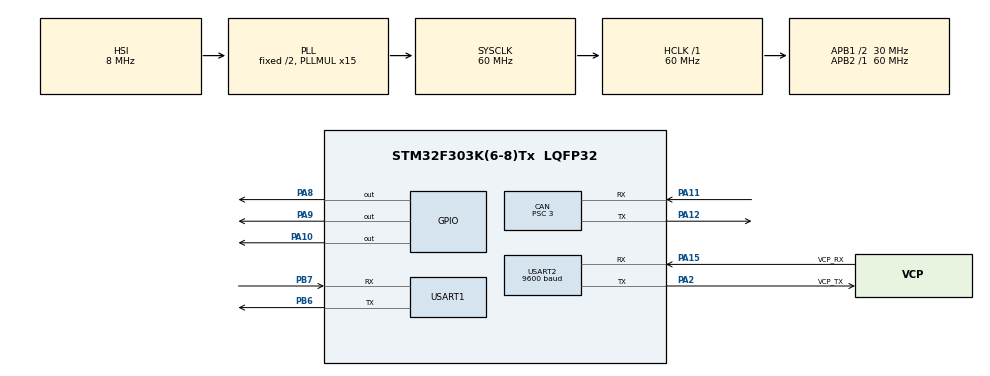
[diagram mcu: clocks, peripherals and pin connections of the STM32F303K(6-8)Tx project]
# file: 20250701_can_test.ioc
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CAN.BS1=CAN_BS1_7TQ
CAN.BS2=CAN_BS2_2TQ
CAN.CalculateBaudRate=1000000
CAN.CalculateTimeBit=1000
CAN.CalculateTimeQuantum=100.0
CAN.Prescaler=3
Mcu.Family=STM32F3
Mcu.Name=STM32F303K(6-8)Tx
Mcu.Package=LQFP32
NVIC.CAN_RX0_IRQn=true\:0\:0\:false\:false\:true\:true\:true\:true
NVIC.PriorityGroup=NVIC_PRIORITYGROUP_4
NVIC.USART2_IRQn=true\:0\:0\:false\:false\:true\:true\:true\:true
PA10.Signal=GPIO_Output
PA11.Mode=CAN_Activate
PA11.Signal=CAN_RX
PA12.Mode=CAN_Activate
PA12.Signal=CAN_TX
PA13.GPIO_Label=SWDIO
PA13.Mode=Serial_Wire
PA13.Signal=SYS_JTMS-SWDIO
PA14.GPIO_Label=SWCLK
PA14.Mode=Serial_Wire
PA14.Signal=SYS_JTCK-SWCLK
PA15.GPIO_Label=VCP_RX
PA15.Mode=Asynchronous
PA15.Signal=USART2_RX
PA2.GPIO_Label=VCP_TX
PA2.Mode=Asynchronous
PA2.Signal=USART2_TX
PA8.Signal=GPIO_Output
PA9.Signal=GPIO_Output
PB6.Mode=Asynchronous
PB6.Signal=USART1_TX
PB7.Mode=Asynchronous
PB7.Signal=USART1_RX
PF0\ /\ OSC_IN.GPIO_Label=MCO
PF0\ /\ OSC_IN.Mode=HSE-External-Clock-Source
PF0\ /\ OSC_IN.Signal=RCC_OSC_IN
ProjectManager.HeapSize=0x200
ProjectManager.StackSize=0x400
ProjectManager.TargetToolchain=STM32CubeIDE
RCC.AHBFreq_Value=60000000
RCC.APB1CLKDivider=RCC_HCLK_DIV2
RCC.APB1Freq_Value=30000000
RCC.APB1TimFreq_Value=60000000
RCC.APB2Freq_Value=60000000
RCC.APB2TimFreq_Value=60000000
RCC.CortexFreq_Value=60000000
RCC.HCLKFreq_Value=60000000
RCC.HSE_VALUE=16000000
RCC.HSI_VALUE=8000000
RCC.PLLMUL=RCC_PLL_MUL15
RCC.RCC_PLLsource_Clock_Source_FROM_HSE=RCC_HSE_PREDIV_DIV4
RCC.SYSCLKFreq_VALUE=60000000
RCC.SYSCLKSourceVirtual=RCC_SYSCLKSOURCE_PLLCLK
USART1.VirtualMode-Asynchronous=VM_ASYNC
USART2.BaudRate=9600
USART2.VirtualMode-Asynchronous=VM_ASYNC
board=NUCLEO-F303K8

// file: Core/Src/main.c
/* USER CODE BEGIN Header */
/**
  ******************************************************************************
  * @file           : main.c
  * @brief          : Main program body
  ******************************************************************************
  * @attention
  *
  * Copyright (c) 2025 STMicroelectronics.
  * All rights reserved.
  *
  * This software is licensed under terms that can be found in the LICENSE file
  * in the root directory of this software component.
  * If no LICENSE file comes with this software, it is provided AS-IS.
  *
  ******************************************************************************
  */
/* USER CODE END Header */
#include "main.h"

CAN_HandleTypeDef hcan;

UART_HandleTypeDef huart1;
UART_HandleTypeDef huart2;

/* USER CODE BEGIN PV */
CAN_TxHeaderTypeDef   TxHeader;
CAN_RxHeaderTypeDef   RxHeader;

uint8_t               TxData[8];
uint8_t               RxData[8];
uint32_t              TxMailbox;
uint8_t               cnt;

float actual_speed = 0.0;

/* USER CODE END PV */

void SystemClock_Config(void);
static void MX_GPIO_Init(void);
static void MX_USART2_UART_Init(void);
static void MX_CAN_Init(void);
static void MX_USART1_UART_Init(void);
/* USER CODE BEGIN PFP */
// コールバック関数
void HAL_CAN_RxFifo0MsgPendingCallback(CAN_HandleTypeDef *hcan);
/* USER CODE END PFP */

int main(void)
{

  /* MCU Configuration--------------------------------------------------------*/

  /* Reset of all peripherals, Initializes the Flash interface and the Systick. */
  HAL_Init();

  /* Configure the system clock */
  SystemClock_Config();

  /* Initialize all configured peripherals */
  MX_GPIO_Init();
  MX_USART2_UART_Init();
  MX_CAN_Init();
  MX_USART1_UART_Init();
  /* USER CODE BEGIN 2 */
  HAL_CAN_Start(&hcan);
  if (HAL_CAN_ActivateNotification(&hcan, CAN_IT_RX_FIFO0_MSG_PENDING) != HAL_OK)
  {
 	  Error_Handler();
  }
  /* USER CODE END 2 */

  /* Infinite loop */
  while (1)
  {

    /* USER CODE BEGIN 3 */
    HAL_Delay(50); // C610の制御周期は通常20ms（50Hz）なので、それに合わせる

    // 16ビットのトルク指令値（モーター1, 2, 3, 4）
    int16_t motor1_torque = 10000;  // 例: 5000のトルクをモーター1に指示
    int16_t motor2_torque = 0;     // モーター2は停止
    int16_t motor3_torque = -5000; // 例: -5000のトルクをモーター3に指示
    int16_t motor4_torque = 0;     // モーター4は停止

    // CAN送信ヘッダの設定
    TxHeader.StdId = 0x200; // モーター1〜4を制御するID
    TxHeader.RTR = CAN_RTR_DATA;
    TxHeader.IDE = CAN_ID_STD;
    TxHeader.DLC = 8;       // データ長は8バイト
    TxHeader.TransmitGlobalTime = DISABLE;

    // CAN送信データの準備
    // トルク指令値をリトルエンディアンでTxDataに格納する
    TxData[0] = (uint8_t)(motor1_torque >> 8);  // モーター1のトルク上位8ビット
    TxData[1] = (uint8_t)(motor1_torque & 0xFF); // モーター1のトルク下位8ビット
    TxData[2] = (uint8_t)(motor2_torque >> 8);
    TxData[3] = (uint8_t)(motor2_torque & 0xFF);
    TxData[4] = (uint8_t)(motor3_torque >> 8);
    TxData[5] = (uint8_t)(motor3_torque & 0xFF);
    TxData[6] = (uint8_t)(motor4_torque >> 8);
    TxData[7] = (uint8_t)(motor4_torque & 0xFF);

    //int len = sprintf(uart_buffer, "Speed: %.2f RPM\r\n", actual_speed);
    //HAL_UART_Transmit(&huart2, (uint8_t*)uart_buffer, len, 100);

    if(HAL_CAN_AddTxMessage(&hcan, &TxHeader, TxData, &TxMailbox) != HAL_OK)
    {
      Error_Handler();
    }

    // 送信が成功したらLEDを点滅
    HAL_GPIO_TogglePin(GPIOA, GPIO_PIN_8);

  }
  /* USER CODE END 3 */
}

void SystemClock_Config(void)
{
  RCC_OscInitTypeDef RCC_OscInitStruct = {0};
  RCC_ClkInitTypeDef RCC_ClkInitStruct = {0};
  RCC_PeriphCLKInitTypeDef PeriphClkInit = {0};

  /** Initializes the RCC Oscillators according to the specified parameters
  * in the RCC_OscInitTypeDef structure.
  */
  RCC_OscInitStruct.OscillatorType = RCC_OSCILLATORTYPE_HSI;
  RCC_OscInitStruct.HSIState = RCC_HSI_ON;
  RCC_OscInitStruct.HSICalibrationValue = RCC_HSICALIBRATION_DEFAULT;
  RCC_OscInitStruct.PLL.PLLState = RCC_PLL_ON;
  RCC_OscInitStruct.PLL.PLLSource = RCC_PLLSOURCE_HSI;
  RCC_OscInitStruct.PLL.PLLMUL = RCC_PLL_MUL15;
  if (HAL_RCC_OscConfig(&RCC_OscInitStruct) != HAL_OK)
  {
    Error_Handler();
  }

  /** Initializes the CPU, AHB and APB buses clocks
  */
  RCC_ClkInitStruct.ClockType = RCC_CLOCKTYPE_HCLK|RCC_CLOCKTYPE_SYSCLK
                              |RCC_CLOCKTYPE_PCLK1|RCC_CLOCKTYPE_PCLK2;
  RCC_ClkInitStruct.SYSCLKSource = RCC_SYSCLKSOURCE_PLLCLK;
  RCC_ClkInitStruct.AHBCLKDivider = RCC_SYSCLK_DIV1;
  RCC_ClkInitStruct.APB1CLKDivider = RCC_HCLK_DIV2;
  RCC_ClkInitStruct.APB2CLKDivider = RCC_HCLK_DIV1;

  if (HAL_RCC_ClockConfig(&RCC_ClkInitStruct, FLASH_LATENCY_2) != HAL_OK)
  {
    Error_Handler();
  }
  PeriphClkInit.PeriphClockSelection = RCC_PERIPHCLK_USART1;
  PeriphClkInit.Usart1ClockSelection = RCC_USART1CLKSOURCE_PCLK1;
  if (HAL_RCCEx_PeriphCLKConfig(&PeriphClkInit) != HAL_OK)
  {
    Error_Handler();
  }
}

static void MX_CAN_Init(void)
{

  hcan.Instance = CAN;
  hcan.Init.Prescaler = 3;
  hcan.Init.Mode = CAN_MODE_NORMAL;
  hcan.Init.SyncJumpWidth = CAN_SJW_1TQ;
  hcan.Init.TimeSeg1 = CAN_BS1_7TQ;
  hcan.Init.TimeSeg2 = CAN_BS2_2TQ;
  hcan.Init.TimeTriggeredMode = DISABLE;
  hcan.Init.AutoBusOff = DISABLE;
  hcan.Init.AutoWakeUp = DISABLE;
  hcan.Init.AutoRetransmission = DISABLE;
  hcan.Init.ReceiveFifoLocked = DISABLE;
  hcan.Init.TransmitFifoPriority = DISABLE;
  if (HAL_CAN_Init(&hcan) != HAL_OK)
  {
    Error_Handler();
  }
  /* USER CODE BEGIN CAN_Init 2 */
  // Qiita記事のCANフィルタ設定を移植
  CAN_FilterTypeDef  sFilterConfig;
  sFilterConfig.FilterBank = 0;
  sFilterConfig.FilterMode = CAN_FILTERMODE_IDMASK;
  sFilterConfig.FilterScale = CAN_FILTERSCALE_32BIT;
  sFilterConfig.FilterIdHigh = 0x0000;
  sFilterConfig.FilterIdLow = 0x0000;
  sFilterConfig.FilterMaskIdHigh = 0x0000;
  sFilterConfig.FilterMaskIdLow = 0x0000;
  sFilterConfig.FilterFIFOAssignment = CAN_RX_FIFO0;
  sFilterConfig.FilterActivation = ENABLE;
  sFilterConfig.SlaveStartFilterBank = 14;

  if (HAL_CAN_ConfigFilter(&hcan, &sFilterConfig) != HAL_OK)
  {
    Error_Handler();
  }

  /* USER CODE END CAN_Init 2 */

}

static void MX_USART1_UART_Init(void)
{

  huart1.Instance = USART1;
  huart1.Init.BaudRate = 38400;
  huart1.Init.WordLength = UART_WORDLENGTH_8B;
  huart1.Init.StopBits = UART_STOPBITS_1;
  huart1.Init.Parity = UART_PARITY_NONE;
  huart1.Init.Mode = UART_MODE_TX_RX;
  huart1.Init.HwFlowCtl = UART_HWCONTROL_NONE;
  huart1.Init.OverSampling = UART_OVERSAMPLING_16;
  huart1.Init.OneBitSampling = UART_ONE_BIT_SAMPLE_DISABLE;
  huart1.AdvancedInit.AdvFeatureInit = UART_ADVFEATURE_NO_INIT;
  if (HAL_UART_Init(&huart1) != HAL_OK)
  {
    Error_Handler();
  }

}

static void MX_USART2_UART_Init(void)
{

  huart2.Instance = USART2;
  huart2.Init.BaudRate = 9600;
  huart2.Init.WordLength = UART_WORDLENGTH_8B;
  huart2.Init.StopBits = UART_STOPBITS_1;
  huart2.Init.Parity = UART_PARITY_NONE;
  huart2.Init.Mode = UART_MODE_TX_RX;
  huart2.Init.HwFlowCtl = UART_HWCONTROL_NONE;
  huart2.Init.OverSampling = UART_OVERSAMPLING_16;
  huart2.Init.OneBitSampling = UART_ONE_BIT_SAMPLE_DISABLE;
  huart2.AdvancedInit.AdvFeatureInit = UART_ADVFEATURE_NO_INIT;
  if (HAL_UART_Init(&huart2) != HAL_OK)
  {
    Error_Handler();
  }

}

static void MX_GPIO_Init(void)
{
  GPIO_InitTypeDef GPIO_InitStruct = {0};

  /* GPIO Ports Clock Enable */
  __HAL_RCC_GPIOF_CLK_ENABLE();
  __HAL_RCC_GPIOA_CLK_ENABLE();
  __HAL_RCC_GPIOB_CLK_ENABLE();

  /*Configure GPIO pin Output Level */
  HAL_GPIO_WritePin(GPIOA, GPIO_PIN_8|GPIO_PIN_9|GPIO_PIN_10, GPIO_PIN_RESET);

  /*Configure GPIO pins : PA8 PA9 PA10 */
  GPIO_InitStruct.Pin = GPIO_PIN_8|GPIO_PIN_9|GPIO_PIN_10;
  GPIO_InitStruct.Mode = GPIO_MODE_OUTPUT_PP;
  GPIO_InitStruct.Pull = GPIO_NOPULL;
  GPIO_InitStruct.Speed = GPIO_SPEED_FREQ_LOW;
  HAL_GPIO_Init(GPIOA, &GPIO_InitStruct);

}

/* USER CODE BEGIN 4 */
// CANの受信割り込みコールバック関数
void HAL_CAN_RxFifo0MsgPendingCallback(CAN_HandleTypeDef *hcan)
{
  if (HAL_CAN_GetRxMessage(hcan, CAN_RX_FIFO0, &RxHeader, RxData) != HAL_OK)
  {
    Error_Handler();
  }

  // C610からのフィードバックメッセージを解析
  // モーター1のフィードバックIDは0x201
  if (RxHeader.StdId == 0x201)
  {
    // C610のフィードバックデータフォーマットは以下の通り
    // Byte 2-3: モーター速度 (RPM)
    actual_speed = (int16_t)(RxData[2] << 8 | RxData[3]);
  }
}
/* USER CODE END 4 */

void Error_Handler(void)
{
  __disable_irq();
  while (1)
  {
  }
}
